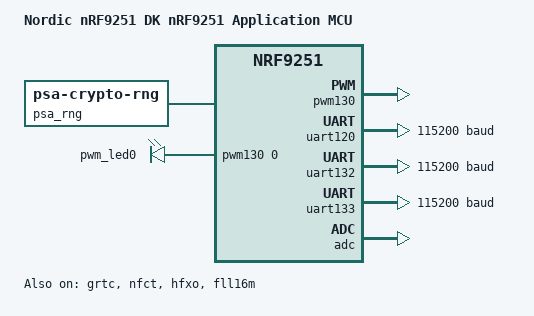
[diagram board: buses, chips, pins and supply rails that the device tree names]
/*
 * Copyright (c) 2026 Nordic Semiconductor ASA
 *
 * SPDX-License-Identifier: LicenseRef-Nordic-5-Clause
 */

/dts-v1/;

#include <arm/nordic/nrf9251_cpuapp.dtsi>
#include "nrf9251dk_nrf9251_common.dtsi"

#include <common/nordic/nrf9251dk_nrf9251-memory_map.dtsi>
#include <common/nordic/nrf9251dk_nrf9251-ipc_conf.dtsi>
#include <common/nordic/nrf9251dk_nrf9251-pinctrl.dtsi>

/ {
	compatible = "nordic,nrf9251dk_nrf9251-cpuapp";
	model = "Nordic nRF9251 DK nRF9251 Application MCU";

	chosen {
		zephyr,code-partition = &cpuapp_slot0_partition;
		zephyr,flash = &mram1x;
		zephyr,sram = &cpuapp_ram0x_sram;
		zephyr,entropy = &psa_rng;
		zephyr,console = &uart133;
		zephyr,shell-uart = &uart133;
		zephyr,uart-mcumgr = &uart133;
		zephyr,wifi = &cpuapp_wifi;
	};

	aliases {
		resetinfo = &cpuapp_resetinfo;
		ipc-to-cpusys = &cpuapp_cpusys_ipc;
		watchdog0 = &wdt010;
		sw0 = &button0;
		sw1 = &button1;
		sw2 = &button2;
		sw3 = &button3;
		led0 = &led0;
		led1 = &led1;
		led2 = &led2;
		led3 = &led3;
		pwm-led0 = &pwm_led0;
	};

	psa_rng: psa-rng {
		compatible = "zephyr,psa-crypto-rng";
		status = "okay";
	};

	pwmleds {
		compatible = "pwm-leds";

		pwm_led0: pwm_led_0 {
			pwms = <&pwm130 0 PWM_MSEC(20) PWM_POLARITY_NORMAL>;
		};
	};
};

&gpio0 {
	status = "okay";
};

&gpio2 {
	status = "okay";
};

&cpuapp_bellboard {
	status = "okay";
	interrupts = <96 NRF_DEFAULT_IRQ_PRIORITY>;
	interrupt-names = "irq0";
	/* The following bells on this bellboard are rang by these cores
	 *  - Bell 0: cpusec
	 *  - Bell 6: cpusys
	 *  - Bell 13: cpuppr
	 *  - Bell 14: cpuflpr
	 *  - Bells 24, 25, 29, 31: cpucell
	 */
	nordic,interrupt-mapping = <0xa3006041 0>;
};

&cpuppr_vpr {
	execution-memory = <&cpuppr_tcm_sram>;
	source-memory = <&cpuppr_code_partition>;
};

&cpuflpr_vpr {
	execution-memory = <&cpuflpr_tcm_sram>;
	source-memory = <&cpuflpr_code_partition>;
};

&cpucell_bellboard {
	status = "okay";
};

&cpusys_vevif {
	status = "okay";
};

&cpuapp_cpusys_ipc {
	status = "okay";
	mbox-names = "rx", "tx";
	tx-region = <&cpuapp_cpusys_ipc_shm>;
	rx-region = <&cpusys_cpuapp_ipc_shm>;
};

&cpuapp_cpuppr_ipc {
	mbox-names = "rx", "tx";
	tx-region = <&cpuapp_cpuppr_ipc_shm>;
	rx-region = <&cpuppr_cpuapp_ipc_shm>;
};

&cpuapp_cpuflpr_ipc {
	mbox-names = "rx", "tx";
	tx-region = <&cpuapp_cpuflpr_ipc_shm>;
	rx-region = <&cpuflpr_cpuapp_ipc_shm>;
};

&cpuapp_dma_region {
	status = "okay";
};

&gpiote130 {
	status = "okay";
	owned-channels = <1 2 3 4 5 6 7>;
};

&grtc {
	status = "okay";
	child-owned-channels = <5 6>;
	nonsecure-channels = <4 5 6>;
	owned-channels = <4 5 6>;
};

&pwm130 {
	status = "okay";
	pinctrl-0 = <&pwm130_default>;
	pinctrl-1 = <&pwm130_sleep>;
	pinctrl-names = "default", "sleep";
	memory-regions = <&cpuapp_dma_region>;
};

&uart120 {
	current-speed = <115200>;
	pinctrl-0 = <&uart120_default>;
	pinctrl-1 = <&uart120_sleep>;
	pinctrl-names = "default", "sleep";
};

&uart132 {
	current-speed = <115200>;
	pinctrl-0 = <&uart132_default>;
	pinctrl-1 = <&uart132_sleep>;
	pinctrl-names = "default", "sleep";
};

&uart133 {
	status = "okay";
	current-speed = <115200>;
	pinctrl-0 = <&uart133_default>;
	pinctrl-1 = <&uart133_sleep>;
	pinctrl-names = "default", "sleep";
	memory-regions = <&cpuapp_dma_region>;
};

&spi120 {
	pinctrl-0 = <&spi120_default>;
	pinctrl-1 = <&spi120_sleep>;
	pinctrl-names = "default", "sleep";
	memory-regions = <&dma_fast_region>;
	cs-gpios = <&gpio5 5 GPIO_ACTIVE_LOW>;

	gd25le255e: gd25le255e@0 {
		compatible = "jedec,spi-nor";
		status = "disabled";
		reg = <0>;
		spi-max-frequency = <8000000>;
		size = <DT_SIZE_M(256)>;
		has-dpd;
		t-enter-dpd = <3000>;
		t-exit-dpd = <20000>;
		jedec-id = [c8 60 19];
		sfdp-bfp = [e5 20 f3 ff ff ff ff 0f 44 eb 08 6b 08 3b 42 bb
			    fe ff ff ff ff ff 00 ff ff ff 42 eb 0c 20 0f 52
			    10 d8 00 ff d4 31 a5 fe 84 df 14 4f ec 62 16 33
			    7a 75 7a 75 04 b3 d5 5c 19 06 14 00 08 50 00 01];
		reset-gpios = <&gpio5 0 GPIO_ACTIVE_LOW>;
		wp-gpios = <&gpio5 3 GPIO_ACTIVE_LOW>;
	};
};

&adc {
	status = "okay";
	memory-regions = <&cpuapp_dma_region>;
};

&coresight {
	pinctrl-0 = <&tpiu_default>;
	pinctrl-names = "default";
};

&nfct {
	status = "okay";
	memory-regions = <&cpuapp_dma_region>;
};

&hfxo {
	status = "okay";
};

&fll16m {
	status = "okay";
};

&cpusec_bellboard {
	status = "okay";
};

&cpusec_cpuapp_ipc {
	mbox-names = "tx", "rx";
	status = "okay";
};

ironside_se_boot_report: &cpuapp_ironside_se_boot_report {};

boot_partition: &cpuapp_boot_partition {
	label = "mcuboot";
};

slot0_partition: &cpuapp_slot0_partition {
	label = "image-0";
};

slot1_partition: &cpuapp_slot1_partition {
	label = "image-1";
};
